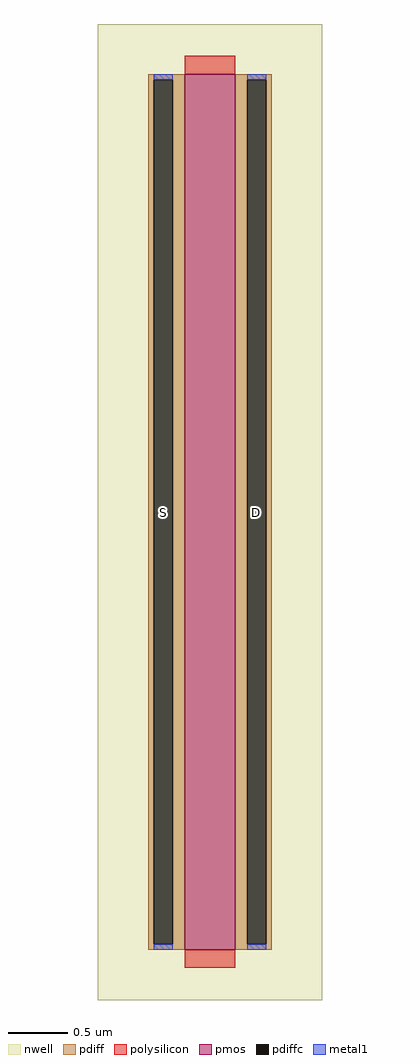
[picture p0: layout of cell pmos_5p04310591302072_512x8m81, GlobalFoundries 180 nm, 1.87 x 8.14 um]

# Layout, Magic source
magic
tech gf180mcuD
magscale 1 10
<< nwell >>
rect -145 -84 229 1544
<< pmos >>
rect 0 0 84 1460
<< pdiff >>
rect -61 1451 0 1460
rect -61 9 -52 1451
rect -20 9 0 1451
rect -61 0 0 9
rect 84 1451 145 1460
rect 84 9 104 1451
rect 136 9 145 1451
rect 84 0 145 9
<< pdiffc >>
rect -52 9 -20 1451
rect 104 9 136 1451
<< polysilicon >>
rect 0 1460 84 1491
rect 0 -30 84 0
<< metal1 >>
rect -52 1451 -20 1460
rect -52 0 -20 9
rect 104 1451 136 1460
rect 104 0 136 9
<< labels >>
flabel pdiffc -36 730 -36 730 0 FreeSans 280 0 0 0 S
flabel pdiffc 120 730 120 730 0 FreeSans 280 0 0 0 D
<< end >>
